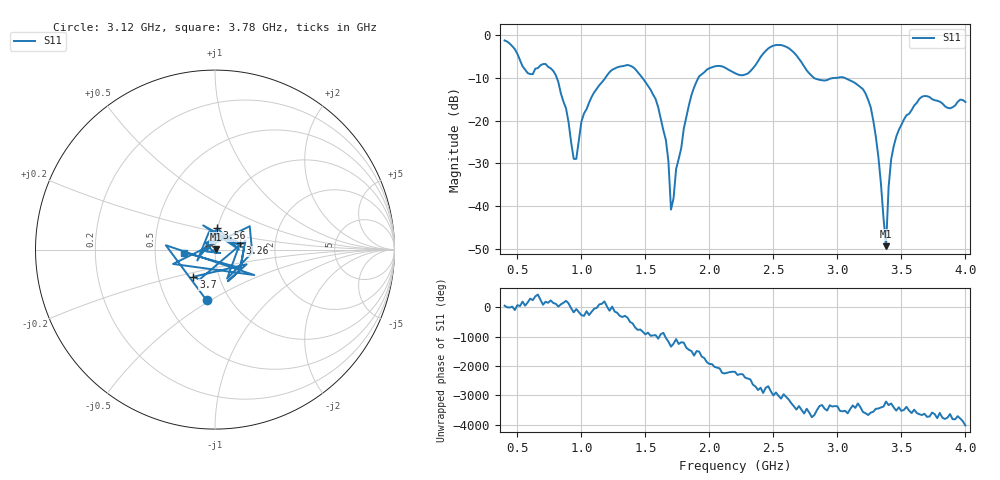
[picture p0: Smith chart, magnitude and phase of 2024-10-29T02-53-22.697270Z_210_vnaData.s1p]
!Created with skrf (http://scikit-rf.org).
# Hz S RI R 50.0
!freq ReS11 ImS11
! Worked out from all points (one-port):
!   181 points, 400 MHz to 4 GHz, reference 50 ohm
!   lowest |S11| = -49.4 dB at 3.38 GHz (marker M1), VSWR 1.01, Z = 50.3 + j0.179 ohm
!   |S11| at or under -10 dB: 807.9 MHz to 1.186 GHz (378.5 MHz wide, 38 % of centre); 1.477 GHz to 1.914 GHz (436.3 MHz wide, 25.7 % of centre); 3.059 GHz to end of sweep (the widest 3 of 4)
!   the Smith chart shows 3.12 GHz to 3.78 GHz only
!   S11 on the Smith chart (normalised r, x): 3.12 GHz: 0.78, -0.48; 3.26 GHz: 1.32, +0.10; 3.56 GHz: 1.00, +0.24; 3.7 GHz: 0.75, -0.24; 3.78 GHz: 0.71, -0.02
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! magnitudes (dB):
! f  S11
! 400 MHz  -1.2
! 580 MHz  -8.8
! 780 MHz  -8.3
! 860 MHz  -15.6
! 960 MHz  -29.0
! 1 GHz  -20.3
! 1.08 GHz  -14.4
! 1.3 GHz  -7.3
! 1.58 GHz  -15.0
! 1.66 GHz  -24.6
! 1.7 GHz  -40.9
! 1.76 GHz  -29.0
! 1.92 GHz  -9.6
! 2.2 GHz  -8.9
! 2.5 GHz  -2.4
! 2.66 GHz  -4.0
! 2.82 GHz  -10.1
! 3.1 GHz  -10.6
! 3.12 GHz  -10.9
! 3.26 GHz  -16.8
! 3.32 GHz  -28.5
! 3.38 GHz  -49.4
! 3.4 GHz  -35.6
! 3.42 GHz  -29.0
! 3.56 GHz  -18.4
! 3.7 GHz  -14.3
! 3.78 GHz  -15.3
! 4 GHz  -15.6
